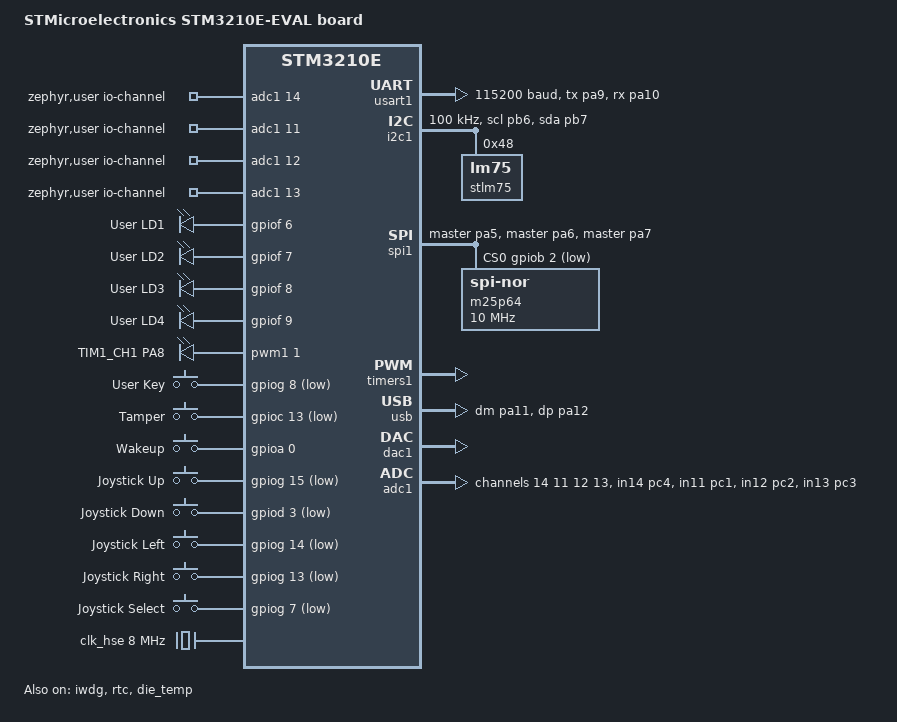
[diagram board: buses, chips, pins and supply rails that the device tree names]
/*
 * Copyright (c) 2026 ZPlatform contributors
 * SPDX-License-Identifier: Apache-2.0
 *
 * STM3210E-EVAL — STMicroelectronics evaluation board with STM32F103ZGT6.
 *
 * Pin assignments derived from ST BSP (stm3210e_eval.h) and UM0455 / MB672.
 * Target MCU: STM32F103ZGT6 (1 MiB Flash, 96 KiB SRAM, Cortex-M3 @ 72 MHz).
 * Older MB672 revisions may ship STM32F103ZET6 (512 KiB / 64 KiB) — use a
 * board variant/overlay if required.
 */

/dts-v1/;
#include <st/f1/stm32f103Xg.dtsi>
#include <st/f1/stm32f103z(f-g)tx-pinctrl.dtsi>
#include <zephyr/dt-bindings/adc/adc.h>
#include <zephyr/dt-bindings/display/panel.h>
#include <zephyr/dt-bindings/input/input-event-codes.h>
#include <zephyr/dt-bindings/pwm/pwm.h>

/ {
	model = "STMicroelectronics STM3210E-EVAL board";
	compatible = "st,stm3210e-eval";

	chosen {
		zephyr,console = &usart1;
		zephyr,shell-uart = &usart1;
		zephyr,sram = &sram0;
		zephyr,flash = &flash0;
		/* Standalone builds link into this single region (whole flash). */
		zephyr,code-partition = &code_partition;
		zephyr,display = &mb895_lcd;
	};

	/* RV1 pot + BNC analogs (UM0488 CN2/CN3/CN5 → PC1–PC3). */
	zephyr,user {
		io-channels = <&adc1 14>, <&adc1 11>, <&adc1 12>, <&adc1 13>;
		dac = <&dac1>;
		dac-channel-id = <1>;
		dac-resolution = <12>;
	};

	/* MB895 TFT on CN16 — FSMC bank4 + Zephyr display API. */
	mb895_lcd: mb895-lcd {
		compatible = "zplatform,mb895-lcd";
		/* 320×240 landscape — matches Cube HX8347D window (cols 0..319, rows 0..239). */
		width = <320>;
		height = <240>;
		pixel-format = <PANEL_PIXEL_FORMAT_RGB_565>;
		status = "okay";
	};

	/*
	 * IS61WV51216BLL — 512K×16 on FSMC bank1 NOR/PSRAM3.
	 * Access after zplatform_fsmc_sram_init() (CONFIG_ZPLATFORM_FSMC_SRAM).
	 */
	ext_sram: sram@68000000 {
		compatible = "zephyr,memory-region", "mmio-sram";
		reg = <0x68000000 DT_SIZE_K(1024)>;
		zephyr,memory-region = "EXT_SRAM";
	};

	leds {
		compatible = "gpio-leds";

		green_led_1: led_1 {
			gpios = <&gpiof 6 GPIO_ACTIVE_HIGH>;
			label = "User LD1";
		};

		orange_led_2: led_2 {
			gpios = <&gpiof 7 GPIO_ACTIVE_HIGH>;
			label = "User LD2";
		};

		red_led_3: led_3 {
			gpios = <&gpiof 8 GPIO_ACTIVE_HIGH>;
			label = "User LD3";
		};

		blue_led_4: led_4 {
			gpios = <&gpiof 9 GPIO_ACTIVE_HIGH>;
			label = "User LD4";
		};
	};

	/* TIM1_CH1 (PA8) — exposed on CN10 / motor-control path; no on-board LED. */
	pwmleds {
		compatible = "pwm-leds";

		pwm_led0: pwm_led_0 {
			pwms = <&pwm1 1 PWM_MSEC(20) PWM_POLARITY_NORMAL>;
			label = "TIM1_CH1 PA8";
		};
	};

	gpio_keys {
		compatible = "gpio-keys";

		user_button: button_key {
			label = "User Key";
			gpios = <&gpiog 8 (GPIO_ACTIVE_LOW | GPIO_PULL_UP)>;
			zephyr,code = <INPUT_KEY_0>;
		};

		tamper_button: button_tamper {
			label = "Tamper";
			gpios = <&gpioc 13 (GPIO_ACTIVE_LOW | GPIO_PULL_UP)>;
			zephyr,code = <INPUT_KEY_1>;
		};

		/* JP4 open: Wakeup B2 (not USART2 CTS / motor-control) */
		wakeup_button: button_wakeup {
			label = "Wakeup";
			gpios = <&gpioa 0 (GPIO_ACTIVE_HIGH | GPIO_PULL_DOWN)>;
			zephyr,code = <INPUT_KEY_WAKEUP>;
		};

		/* Joystick U19 — UM0455 / MB672 */
		joy_up: button_joy_up {
			label = "Joystick Up";
			gpios = <&gpiog 15 (GPIO_ACTIVE_LOW | GPIO_PULL_UP)>;
			zephyr,code = <INPUT_KEY_UP>;
		};

		joy_down: button_joy_down {
			label = "Joystick Down";
			gpios = <&gpiod 3 (GPIO_ACTIVE_LOW | GPIO_PULL_UP)>;
			zephyr,code = <INPUT_KEY_DOWN>;
		};

		joy_left: button_joy_left {
			label = "Joystick Left";
			gpios = <&gpiog 14 (GPIO_ACTIVE_LOW | GPIO_PULL_UP)>;
			zephyr,code = <INPUT_KEY_LEFT>;
		};

		joy_right: button_joy_right {
			label = "Joystick Right";
			gpios = <&gpiog 13 (GPIO_ACTIVE_LOW | GPIO_PULL_UP)>;
			zephyr,code = <INPUT_KEY_RIGHT>;
		};

		joy_select: button_joy_select {
			label = "Joystick Select";
			gpios = <&gpiog 7 (GPIO_ACTIVE_LOW | GPIO_PULL_UP)>;
			zephyr,code = <INPUT_KEY_ENTER>;
		};
	};

	aliases {
		led0 = &green_led_1;
		led1 = &orange_led_2;
		led2 = &red_led_3;
		led3 = &blue_led_4;
		pwm-led0 = &pwm_led0;
		lcd0 = &mb895_lcd;
		sw0 = &user_button;
		sw1 = &tamper_button;
		sw-wakeup = &wakeup_button;
		joy-up = &joy_up;
		joy-down = &joy_down;
		joy-left = &joy_left;
		joy-right = &joy_right;
		joy-select = &joy_select;
		watchdog0 = &iwdg;
		die-temp0 = &die_temp;
		rtc = &rtc;
		mcuboot-button0 = &user_button;
	};
};

&clk_lsi {
	status = "okay";
};

&clk_hse {
	clock-frequency = <DT_FREQ_M(8)>;
	status = "okay";
};

&pll {
	mul = <9>;
	clocks = <&clk_hse>;
	status = "okay";
};

&rcc {
	clocks = <&pll>;
	clock-frequency = <DT_FREQ_M(72)>;
	ahb-prescaler = <1>;
	apb1-prescaler = <2>;
	apb2-prescaler = <1>;
};

&usart1 {
	pinctrl-0 = <&usart1_tx_pa9 &usart1_rx_pa10>;
	pinctrl-names = "default";
	current-speed = <115200>;
	status = "okay";
};

&usart2 {
	pinctrl-0 = <&usart2_tx_pa2 &usart2_rx_pa3>;
	pinctrl-names = "default";
	current-speed = <115200>;
	status = "disabled";
};

&i2c1 {
	pinctrl-0 = <&i2c1_scl_pb6 &i2c1_sda_pb7>;
	pinctrl-names = "default";
	status = "okay";
	clock-frequency = <I2C_BITRATE_STANDARD>;

	/* STLM75 temperature sensor on the evaluation board */
	stlm75: stlm75@48 {
		compatible = "lm75";
		reg = <0x48>;
		status = "okay";
	};
};

&spi1 {
	pinctrl-0 = <&spi1_sck_master_pa5 &spi1_miso_master_pa6
		     &spi1_mosi_master_pa7>;
	pinctrl-names = "default";
	cs-gpios = <&gpiob 2 GPIO_ACTIVE_LOW>;
	status = "okay";

	/*
	 * U6 M25P64-VME6G (64 Mbit). CS = PB2.
	 * JP3 must route SPI1 MISO to the serial Flash (see UM0455).
	 */
	m25p64: m25p64@0 {
		compatible = "jedec,spi-nor";
		reg = <0>;
		spi-max-frequency = <10000000>;
		jedec-id = [20 20 17];
		size = <DT_SIZE_M(64)>; /* 64 Mbit = 8 MiB */
		status = "okay";
	};
};

&iwdg {
	status = "okay";
};

&timers1 {
	st,prescaler = <7199>;
	status = "okay";

	pwm1: pwm {
		status = "okay";
		pinctrl-0 = <&tim1_ch1_pwm_out_pa8>;
		pinctrl-names = "default";
	};
};

zephyr_udc0: &usb {
	pinctrl-0 = <&usb_dm_pa11 &usb_dp_pa12>;
	pinctrl-names = "default";
	/*
	 * USB FS shares IRQs 19/20 with bxCAN (RM0008). Default: USB live,
	 * CAN disabled. samples/can (and demo overlay) flip that.
	 */
	status = "okay";
};

&can1 {
	pinctrl-0 = <&can_rx_remap1_pb8 &can_tx_remap1_pb9>;
	pinctrl-names = "default";
	/* SN65HVD230 on CN4 — PB8/PB9 remap1 (UM0488 §2.7). */
	status = "disabled";

	can-transceiver {
		max-bitrate = <1000000>;
	};
};

&dac1 {
	status = "okay";
};

&rtc {
	clocks = <&rcc STM32_CLOCK(APB1, 28)>,
		 <&rcc STM32_SRC_LSI RTC_SEL(2)>;
	status = "okay";
};

&adc1 {
	/* RV1 PC4=IN14; BNC CN5/CN3/CN2 = PC1/PC2/PC3 = IN11/IN12/IN13 */
	pinctrl-0 = <&adc1_in14_pc4 &adc1_in11_pc1 &adc1_in12_pc2
		     &adc1_in13_pc3>;
	pinctrl-names = "default";
	status = "okay";

	#address-cells = <1>;
	#size-cells = <0>;

	channel@e {
		reg = <14>;
		zephyr,gain = "ADC_GAIN_1";
		zephyr,reference = "ADC_REF_INTERNAL";
		zephyr,acquisition-time = <ADC_ACQ_TIME_DEFAULT>;
		zephyr,resolution = <12>;
		zephyr,vref-mv = <3300>;
	};

	channel@b {
		reg = <11>;
		zephyr,gain = "ADC_GAIN_1";
		zephyr,reference = "ADC_REF_INTERNAL";
		zephyr,acquisition-time = <ADC_ACQ_TIME_DEFAULT>;
		zephyr,resolution = <12>;
		zephyr,vref-mv = <3300>;
	};

	channel@c {
		reg = <12>;
		zephyr,gain = "ADC_GAIN_1";
		zephyr,reference = "ADC_REF_INTERNAL";
		zephyr,acquisition-time = <ADC_ACQ_TIME_DEFAULT>;
		zephyr,resolution = <12>;
		zephyr,vref-mv = <3300>;
	};

	channel@d {
		reg = <13>;
		zephyr,gain = "ADC_GAIN_1";
		zephyr,reference = "ADC_REF_INTERNAL";
		zephyr,acquisition-time = <ADC_ACQ_TIME_DEFAULT>;
		zephyr,resolution = <12>;
		zephyr,vref-mv = <3300>;
	};
};

&die_temp {
	status = "okay";
};

&flash0 {
	partitions {
		compatible = "fixed-partitions";
		#address-cells = <1>;
		#size-cells = <1>;

		/*
		 * Standalone / default image: one partition = entire Flash.
		 * MCUboot builds replace this node via
		 * support/partitions_mcuboot.dtsi (boot / slot0 / slot1 / storage).
		 */
		code_partition: partition@0 {
			label = "code";
			reg = <0x00000000 DT_SIZE_K(1024)>;
		};
	};
};
